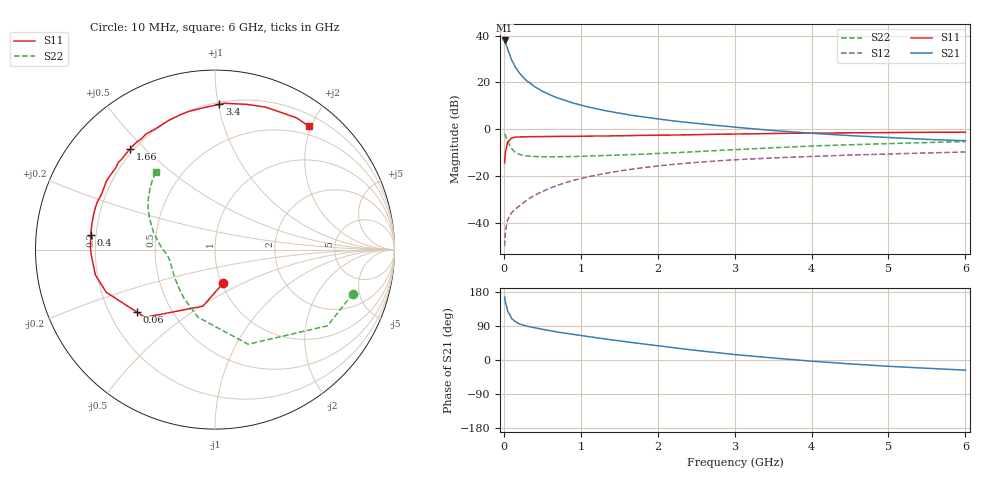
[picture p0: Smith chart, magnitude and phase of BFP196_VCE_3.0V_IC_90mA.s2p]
! Infineon Technologies  Discrete & RF Semiconductors
! BFP196
! VCE = 3.0 V,  IC =  90mA
! Common Emitter S-Parameters:  Jan 2016
# GHz  S  MA  R  50
!  f  S11  S21  S12  S22
! GHz  MAG  ANG  MAG  ANG  MAG  ANG  MAG  ANG
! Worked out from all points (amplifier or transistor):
!   210 points, 10 MHz to 6 GHz, reference 50 ohm
!   highest |S21| = 37.9 dB at 10 MHz (marker M1)
!   |S21| within 3 dB of that: start of sweep to 41.68 MHz
!   unconditionally stable (mu >= 1): 340.6 MHz to 4.477 GHz; 4.547 GHz to 4.972 GHz
!   at 185 MHz: K = 0.85, MSG = 29.0 dB, |S12| = -33.1 dB
!   at 1.52 GHz: K = 1.09, MAG = 10.5 dB, |S12| = -17.7 dB
!   at 6 GHz: K = 0.98, MSG = 2.4 dB, |S12| = -9.7 dB
!   S11 on the Smith chart (normalised r, x): 10 MHz: 1.02, -0.39; 60 MHz: 0.32, -0.32; 400 MHz: 0.18, +0.06; 1.66 GHz: 0.19, +0.45; 3.4 GHz: 0.21, +1.01; 6 GHz: 0.36, +1.96
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0.01  0.1912 -75.7  78.56 166.1  0.0032 75.5  0.8064 -17.7
0.02  0.3218 -102.0  72.17 152.8  0.0065 67.5  0.757 -34.1
0.05  0.5427 -135.9  50.94 127.7  0.0117 51.9  0.5585 -70.7
0.06  0.5565 -141.1  46.53 125.3  0.0126 51.7  0.5134 -75.5
0.1  0.6505 -158.5  30.26 109.2  0.0164 51.3  0.3884 -104.1
0.15  0.6814 -168.0  21.01 100.7  0.02 55.2  0.3223 -122.3
0.2  0.6849 -174.1  16.03 95.4  0.023 58.1  0.2929 -133.7
0.26  0.6912 -178.6  12.4 91.4  0.0276 61.2  0.2761 -143.1
0.3  0.6943 179.0  10.73 89.2  0.031 62.4  0.2702 -147.4
0.4  0.6974 173.2  8.116 84.8  0.0388 65.1  0.2619 -155.3
0.5  0.7002 169.3  6.486 81.0  0.0467 66.2  0.2589 -160.3
0.6  0.7032 165.1  5.421 77.3  0.0555 66.4  0.2584 -163.6
0.8  0.7076 158.0  4.078 70.7  0.0723 64.9  0.261 -168.3
1.02  0.7094 150.2  3.213 64.0  0.0903 63.2  0.2652 -171.9
1.3  0.7159 140.9  2.531 55.9  0.1128 59.3  0.2737 -175.7
1.66  0.7342 130.1  1.99 46.2  0.1405 54.2  0.2881 -180.0
2.02  0.7495 120.3  1.644 37.2  0.1659 48.5  0.3057 175.6
3.1  0.7939 94.1  1.073 12.6  0.2273 32.0  0.3738 160.2
3.4  0.8098 88.3  0.972 7.1  0.2404 27.7  0.3957 155.9
4.1  0.8303 76.1  0.802 -4.5  0.2667 18.9  0.4451 146.9
5.1  0.8509 63.0  0.653 -17.6  0.2997 7.6  0.4991 136.2
6  0.8636 52.9  0.57 -26.8  0.3276 -2.3  0.5457 127.2
